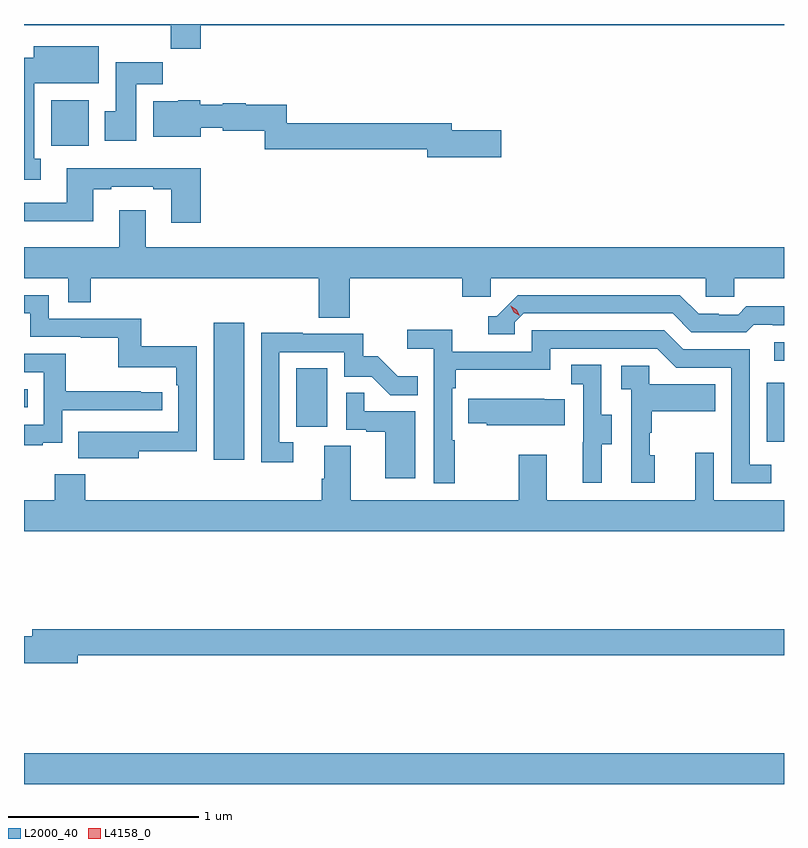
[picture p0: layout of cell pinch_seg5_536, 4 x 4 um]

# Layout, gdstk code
import gdstk
lib = gdstk.Library(unit=1e-6, precision=1e-09)
def R(c, l, rs):  # rectangles x0, y0, x1, y1
    for r in rs: c.add(gdstk.rectangle(r[:2], r[2:], *l))
def P(c, l, *ps):  # polygons
    for p in ps: c.add(gdstk.Polygon(p, *l))
L2000_40 = (2000, 40)
L4158_0 = (4158, 0)

pinch_seg5_536 = lib.new_cell('pinch_seg5_536')
R(pinch_seg5_536, L2000_40, [(998.607,847.438,1002.607,847.6), (999.605,849.144,999.766,849.865), (1002.516,849.24,1002.607,849.55), (1000.04,849.318,1000.204,849.625), (998.607,849.42,998.627,849.516), (1002.555,849.666,1002.607,849.762), (998.75,850.796,998.947,851.038)])
P(pinch_seg5_536, L2000_40, [(999.536,851.432),(1002.607,851.432),(1002.607,851.438),(998.607,851.438),(998.607,851.432),(999.379,851.432),(999.379,851.308),(999.536,851.308)],
  [(998.695,850.73),(998.662,850.73),(998.662,851.126),(999.001,851.126),(999.001,851.32),(998.657,851.32),(998.657,851.26),(998.607,851.26),(998.607,850.617),(998.695,850.617)],
  [(999.199,851.12),(999.338,851.12),(999.338,851.238),(999.089,851.238),(999.089,850.98),(999.032,850.98),(999.032,850.824),(999.199,850.824)],
  [(1001.119,850.88),(1000.858,850.88),(1000.858,850.916),(999.989,850.916),(999.989,851.014),(999.774,851.014),(999.774,851.022),(999.654,851.022),(999.654,851.014),(999.534,851.014),(999.534,851.038),(999.42,851.038),(999.42,851.032),(999.287,851.032),(999.287,850.844),(999.538,850.844),(999.538,850.892),(999.654,850.892),(999.654,850.877),(999.873,850.877),(999.873,850.78),(1000.73,850.78),(1000.73,850.738),(1001.119,850.738)],
  [(999.536,850.678),(998.831,850.678),(998.831,850.497),(998.607,850.497),(998.607,850.4),(998.971,850.4),(998.971,850.569),(999.067,850.569),(999.067,850.581),(999.287,850.581),(999.287,850.569),(999.383,850.569),(999.383,850.392),(999.536,850.392)],
  [(1000.322,850.1),(1000.913,850.1),(1000.913,850.002),(1001.064,850.002),(1001.064,850.1),(1002.195,850.1),(1002.195,850.002),(1002.345,850.002),(1002.345,850.1),(1002.607,850.1),(1002.607,850.264),(999.247,850.264),(999.247,850.459),(999.107,850.459),(999.107,850.264),(998.607,850.264),(998.607,850.1),(998.841,850.1),(998.841,849.973),(998.957,849.973),(998.957,850.1),(1000.157,850.1),(1000.157,849.892),(1000.322,849.892)],
  [(999.211,849.19),(999.516,849.19),(999.516,849.742),(999.223,849.742),(999.223,849.888),(998.736,849.888),(998.736,850.011),(998.607,850.011),(998.607,849.915),(998.64,849.915),(998.64,849.792),(998.905,849.792),(998.905,849.787),(999.102,849.787),(999.102,849.632),(999.407,849.632),(999.407,849.536),(999.42,849.536),(999.42,849.291),(999.107,849.291),(999.107,849.292),(998.893,849.292),(998.893,849.152),(999.211,849.152)],
  [(1001.19,849.867),(1001.238,849.915),(1002.021,849.915),(1002.12,849.816),(1002.409,849.816),(1002.448,849.855),(1002.547,849.855),(1002.547,849.852),(1002.607,849.852),(1002.607,849.952),(1002.409,849.952),(1002.367,849.909),(1002.264,849.909),(1002.264,849.912),(1002.157,849.912),(1002.058,850.011),(1001.205,850.011),(1001.094,849.9),(1001.051,849.9),(1001.051,849.804),(1001.19,849.804)],
  [(1000.873,849.248),(1000.86,849.248),(1000.86,849.521),(1000.88,849.521),(1000.88,849.617),(1001.376,849.617),(1001.376,849.729),(1001.94,849.729),(1002.039,849.63),(1002.33,849.63),(1002.33,849.021),(1002.539,849.021),(1002.539,849.117),(1002.426,849.117),(1002.426,849.726),(1002.076,849.726),(1001.977,849.825),(1001.28,849.825),(1001.28,849.714),(1000.862,849.714),(1000.862,849.83),(1000.623,849.83),(1000.623,849.728),(1000.764,849.728),(1000.764,849.021),(1000.873,849.021)],
  [(1000.024,849.237),(999.951,849.237),(999.951,849.711),(1000.293,849.711),(1000.293,849.582),(1000.437,849.582),(1000.535,849.484),(1000.679,849.484),(1000.679,849.583),(1000.575,849.583),(1000.468,849.69),(1000.392,849.69),(1000.392,849.807),(1000.073,849.807),(1000.073,849.812),(999.855,849.812),(999.855,849.132),(1000.024,849.132)],
  [(998.705,849.233),(998.808,849.233),(998.808,849.405),(999.334,849.405),(999.334,849.501),(999.221,849.501),(999.221,849.506),(998.828,849.506),(998.828,849.702),(998.607,849.702),(998.607,849.606),(998.712,849.606),(998.712,849.33),(998.607,849.33),(998.607,849.222),(998.705,849.222)],
  [(1001.647,849.226),(1001.701,849.226),(1001.701,849.381),(1001.646,849.381),(1001.646,849.644),(1001.487,849.644),(1001.487,849.541),(1001.55,849.541),(1001.55,849.237),(1001.549,849.237),(1001.549,849.024),(1001.647,849.024)],
  [(1001.926,849.168),(1001.901,849.168),(1001.901,849.287),(1001.911,849.287),(1001.911,849.401),(1002.245,849.401),(1002.245,849.541),(1001.898,849.541),(1001.898,849.639),(1001.751,849.639),(1001.751,849.515),(1001.802,849.515),(1001.802,849.024),(1001.926,849.024)],
  [(1000.666,849.399),(1000.397,849.399),(1000.397,849.497),(1000.302,849.497),(1000.302,849.303),(1000.409,849.303),(1000.409,849.291),(1000.508,849.291),(1000.508,849.048),(1000.666,849.048)],
  [(1001.453,849.463),(1001.345,849.463),(1001.345,849.466),(1000.945,849.466),(1000.945,849.337),(1001.043,849.337),(1001.043,849.326),(1001.453,849.326)],
  [(1002.607,848.932),(1002.237,848.932),(1002.237,849.181),(1002.14,849.181),(1002.14,848.932),(1001.359,848.932),(1001.359,849.172),(1001.212,849.172),(1001.212,848.932),(1000.327,848.932),(1000.327,849.218),(1000.187,849.218),(1000.187,849.044),(1000.175,849.044),(1000.175,848.932),(998.93,848.932),(998.93,849.067),(998.77,849.067),(998.77,848.932),(998.607,848.932),(998.607,848.768),(1002.607,848.768)],
  [(998.89,848.116),(1002.607,848.116),(1002.607,848.252),(998.651,848.252),(998.651,848.216),(998.607,848.216),(998.607,848.074),(998.89,848.074)])
P(pinch_seg5_536, L4158_0, [(1001.215,849.902),(1001.185,849.922),(1001.169,849.955),(1001.169,849.955),(1001.169,849.955),(1001.2,849.935),(1001.215,849.902),(1001.215,849.902)])

lib.write_gds('pinch_seg5_536.gds')
